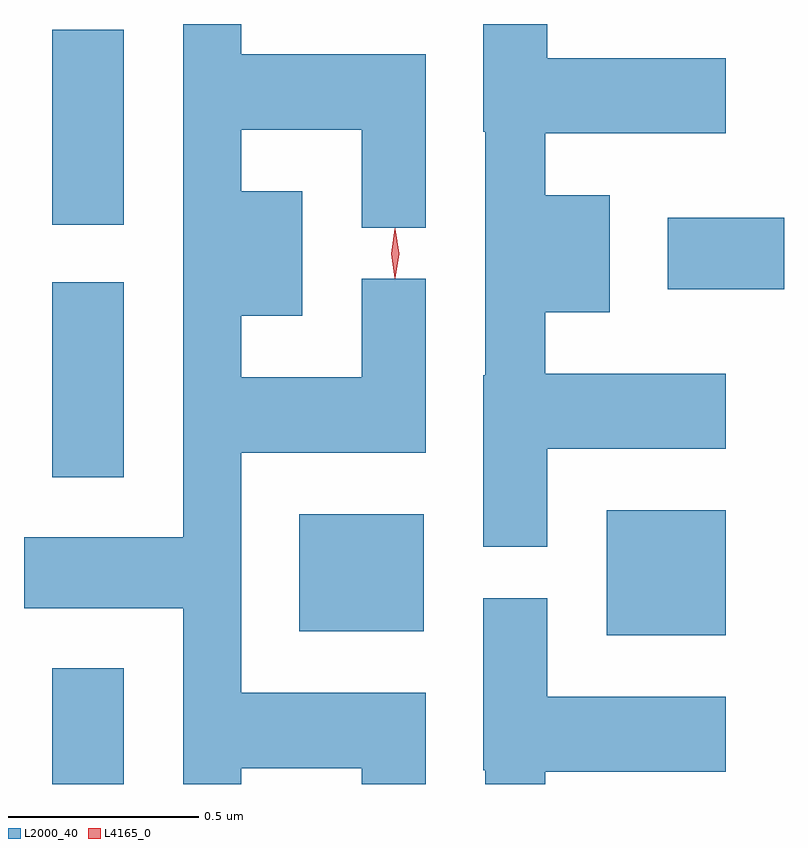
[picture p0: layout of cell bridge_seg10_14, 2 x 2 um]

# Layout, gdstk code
import gdstk
lib = gdstk.Library(unit=1e-6, precision=1e-09)
def R(c, l, rs):  # rectangles x0, y0, x1, y1
    for r in rs: c.add(gdstk.rectangle(r[:2], r[2:], *l))
def P(c, l, *ps):  # polygons
    for p in ps: c.add(gdstk.Polygon(p, *l))
L2000_40 = (2000, 40)
L4165_0 = (4165, 0)

bridge_seg10_14 = lib.new_cell('bridge_seg10_14')
R(bridge_seg10_14, L2000_40, [(1911.896,2176.174,1912.084,2176.479), (1913.356,2176.566,1913.669,2176.894), (1912.546,2176.576,1912.874,2176.884), (1911.896,2176.981,1912.084,2177.494), (1913.516,2177.476,1913.822,2177.664), (1911.896,2177.646,1912.084,2178.159)])
P(bridge_seg10_14, L2000_40, [(1912.394,2176.216),(1912.711,2176.216),(1912.711,2176.174),(1912.879,2176.174),(1912.879,2176.414),(1912.394,2176.414),(1912.394,2177.046),(1912.879,2177.046),(1912.879,2177.503),(1912.711,2177.503),(1912.711,2177.244),(1912.394,2177.244),(1912.394,2177.406),(1912.554,2177.406),(1912.554,2177.734),(1912.394,2177.734),(1912.394,2177.896),(1912.711,2177.896),(1912.711,2177.638),(1912.879,2177.638),(1912.879,2178.094),(1912.394,2178.094),(1912.394,2178.174),(1912.241,2178.174),(1912.241,2176.824),(1911.822,2176.824),(1911.822,2176.636),(1912.241,2176.636),(1912.241,2176.174),(1912.394,2176.174)],
  [(1913.199,2177.056),(1913.669,2177.056),(1913.669,2177.254),(1913.194,2177.254),(1913.194,2177.416),(1913.364,2177.416),(1913.364,2177.724),(1913.194,2177.724),(1913.194,2177.886),(1913.669,2177.886),(1913.669,2178.084),(1913.199,2178.084),(1913.199,2178.174),(1913.031,2178.174),(1913.031,2177.89),(1913.036,2177.89),(1913.036,2177.25),(1913.031,2177.25),(1913.031,2176.798),(1913.199,2176.798)],
  [(1913.194,2176.206),(1913.669,2176.206),(1913.669,2176.404),(1913.199,2176.404),(1913.199,2176.663),(1913.031,2176.663),(1913.031,2176.21),(1913.036,2176.21),(1913.036,2176.174),(1913.194,2176.174)])
P(bridge_seg10_14, L4165_0, [(1912.799,2177.504),(1912.798,2177.505),(1912.789,2177.57),(1912.798,2177.635),(1912.799,2177.636),(1912.799,2177.635),(1912.809,2177.57),(1912.799,2177.505)])

lib.write_gds('bridge_seg10_14.gds')
